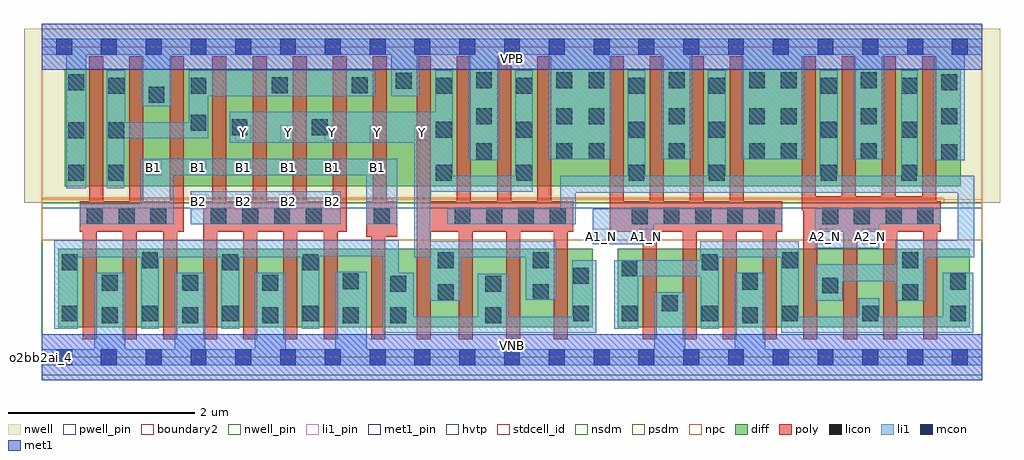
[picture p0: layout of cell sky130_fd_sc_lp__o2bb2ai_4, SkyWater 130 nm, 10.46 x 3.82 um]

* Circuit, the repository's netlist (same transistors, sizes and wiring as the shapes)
* Copyright 2020 The SkyWater PDK Authors
*
* Licensed under the Apache License, Version 2.0 (the "License");
* you may not use this file except in compliance with the License.
* You may obtain a copy of the License at
*
*     https://www.apache.org/licenses/LICENSE-2.0
*
* Unless required by applicable law or agreed to in writing, software
* distributed under the License is distributed on an "AS IS" BASIS,
* WITHOUT WARRANTIES OR CONDITIONS OF ANY KIND, either express or implied.
* See the License for the specific language governing permissions and
* limitations under the License.
*
* SPDX-License-Identifier: Apache-2.0

.SUBCKT sky130_fd_sc_lp__o2bb2ai_4 A1_N A2_N B1 B2 VGND VNB VPB VPWR Y
*.PININFO A1_N:I A2_N:I B1:I B2:I VGND:I VNB:I VPB:I VPWR:I Y:O
MMNnand0 VGND A1_N sndNA1N VNB sky130_fd_pr__nfet_01v8 m=4 w=0.84U l=0.15U mult=1
+ sa=0.265 sb=0.265 sd=0.28 area=0.063 perim=1.14
MMNnand1 sndNA1N A2_N inand VNB sky130_fd_pr__nfet_01v8 m=4 w=0.84U l=0.15U mult=1
+ sa=0.265 sb=0.265 sd=0.28 area=0.063 perim=1.14
MMNaoi10 nmid B1 VGND VNB sky130_fd_pr__nfet_01v8 m=4 w=0.84U l=0.15U mult=1 sa=0.265
+ sb=0.265 sd=0.28 area=0.063 perim=1.14
MMNaoi11 nmid B2 VGND VNB sky130_fd_pr__nfet_01v8 m=4 w=0.84U l=0.15U mult=1 sa=0.265
+ sb=0.265 sd=0.28 area=0.063 perim=1.14
MMNaoi20 Y inand nmid VNB sky130_fd_pr__nfet_01v8 m=4 w=0.84U l=0.15U mult=1 sa=0.265
+ sb=0.265 sd=0.28 area=0.063 perim=1.14
MMPnand0 inand A1_N VPWR VPB sky130_fd_pr__pfet_01v8_hvt m=4 w=1.26U l=0.15U mult=1
+ sa=0.265 sb=0.265 sd=0.28 area=0.063 perim=1.14
MMPnand1 inand A2_N VPWR VPB sky130_fd_pr__pfet_01v8_hvt m=4 w=1.26U l=0.15U mult=1
+ sa=0.265 sb=0.265 sd=0.28 area=0.063 perim=1.14
MMPaoi10 VPWR B1 sndPB1 VPB sky130_fd_pr__pfet_01v8_hvt m=4 w=1.26U l=0.15U mult=1
+ sa=0.265 sb=0.265 sd=0.28 area=0.063 perim=1.14
MMPaoi11 sndPB1 B2 Y VPB sky130_fd_pr__pfet_01v8_hvt m=4 w=1.26U l=0.15U mult=1
+ sa=0.265 sb=0.265 sd=0.28 area=0.063 perim=1.14
MMPaoi20 Y inand VPWR VPB sky130_fd_pr__pfet_01v8_hvt m=4 w=1.26U l=0.15U mult=1
+ sa=0.265 sb=0.265 sd=0.28 area=0.063 perim=1.14
.ENDS sky130_fd_sc_lp__o2bb2ai_4

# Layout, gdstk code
import gdstk
lib = gdstk.Library(unit=1e-6, precision=1e-09)
def R(c, l, rs):  # rectangles x0, y0, x1, y1
    for r in rs: c.add(gdstk.rectangle(r[:2], r[2:], *l))
def A(c, l, x, y, w, h, nx, ny, dx, dy):  # array of equal rectangles
    R(c, l, [(x+i*dx, y+j*dy, x+i*dx+w, y+j*dy+h) for i in range(nx) for j in range(ny)])
def P(c, l, *ps):  # polygons
    for p in ps: c.add(gdstk.Polygon(p, *l))
nwell_pin = (64, 16)
nwell = (64, 20)
diff = (65, 20)
poly = (66, 20)
licon = (66, 44)
li1_pin = (67, 16)
li1 = (67, 20)
mcon = (67, 44)
met1_pin = (68, 16)
met1 = (68, 20)
hvtp = (78, 44)
stdcell_id = (81, 4)
nsdm = (93, 44)
psdm = (94, 20)
npc = (95, 20)
pwell_pin = (122, 16)
boundary2 = (236, 0)

sky130_fd_sc_lp__o2bb2ai = lib.new_cell('sky130_fd_sc_lp__o2bb2ai_4')
R(sky130_fd_sc_lp__o2bb2ai, nwell_pin, [(0,3.085,10.08,3.33)])
R(sky130_fd_sc_lp__o2bb2ai, nwell, [(-0.19,1.655,10.27,3.52)])
R(sky130_fd_sc_lp__o2bb2ai, diff, [(0.175,0.325,5.905,1.165), (6.175,0.325,9.945,1.165), (0.245,1.835,9.85,3.095)])
P(sky130_fd_sc_lp__o2bb2ai, poly, [(1.52,3.225),(1.37,3.225),(1.37,1.675),(1.09,1.675),(1.09,3.225),(0.94,3.225),(0.94,1.675),(0.66,1.675),(0.66,3.225),(0.51,3.225),(0.51,1.675),(0.405,1.675),(0.405,1.345),(0.44,1.345),(0.44,0.195),(0.59,0.195),(0.59,1.345),(0.87,1.345),(0.87,0.195),(1.02,0.195),(1.02,1.345),(1.3,1.345),(1.3,0.195),(1.45,0.195),(1.45,1.345),(1.52,1.345)],
  [(3.27,3.225),(3.12,3.225),(3.12,1.675),(2.84,1.675),(2.84,3.225),(2.69,3.225),(2.69,1.675),(2.41,1.675),(2.41,3.225),(2.26,3.225),(2.26,1.675),(1.98,1.675),(1.98,3.225),(1.83,3.225),(1.83,1.675),(1.73,1.675),(1.73,0.195),(1.88,0.195),(1.88,1.345),(2.16,1.345),(2.16,0.195),(2.31,0.195),(2.31,1.345),(2.59,1.345),(2.59,0.195),(2.74,0.195),(2.74,1.345),(3.02,1.345),(3.02,0.195),(3.17,0.195),(3.17,1.345),(3.27,1.345)],
  [(3.81,1.675),(3.7,1.675),(3.7,3.225),(3.55,3.225),(3.55,1.675),(3.48,1.675),(3.48,1.295),(3.53,1.295),(3.53,0.195),(3.68,0.195),(3.68,1.295),(3.81,1.295)],
  [(5.64,1.345),(5.695,1.345),(5.695,1.675),(5.46,1.675),(5.46,3.225),(5.31,3.225),(5.31,1.675),(5.03,1.675),(5.03,3.225),(4.88,3.225),(4.88,1.675),(4.6,1.675),(4.6,3.225),(4.45,3.225),(4.45,1.675),(4.17,1.675),(4.17,3.225),(4.02,3.225),(4.02,0.195),(4.17,0.195),(4.17,1.345),(4.47,1.345),(4.47,0.195),(4.62,0.195),(4.62,1.345),(4.98,1.345),(4.98,0.195),(5.13,0.195),(5.13,1.345),(5.49,1.345),(5.49,0.195),(5.64,0.195)],
  [(7.935,1.675),(7.525,1.675),(7.525,3.225),(7.375,3.225),(7.375,1.675),(7.095,1.675),(7.095,3.225),(6.945,3.225),(6.945,1.675),(6.665,1.675),(6.665,3.225),(6.515,3.225),(6.515,1.675),(6.235,1.675),(6.235,3.225),(6.085,3.225),(6.085,1.345),(6.44,1.345),(6.44,0.195),(6.59,0.195),(6.59,1.345),(6.87,1.345),(6.87,0.195),(7.02,0.195),(7.02,1.345),(7.3,1.345),(7.3,0.195),(7.45,0.195),(7.45,1.345),(7.73,1.345),(7.73,0.195),(7.88,0.195),(7.88,1.345),(7.935,1.345)],
  [(9.635,1.675),(9.585,1.675),(9.585,3.225),(9.435,3.225),(9.435,1.725),(9.155,1.725),(9.155,3.225),(9.005,3.225),(9.005,1.725),(8.725,1.725),(8.725,3.225),(8.575,3.225),(8.575,1.725),(8.295,1.725),(8.295,3.225),(8.145,3.225),(8.145,1.575),(8.16,1.575),(8.16,0.195),(8.31,0.195),(8.31,1.345),(8.59,1.345),(8.59,0.195),(8.74,0.195),(8.74,1.345),(9.02,1.345),(9.02,0.195),(9.17,0.195),(9.17,1.345),(9.45,1.345),(9.45,0.195),(9.6,0.195),(9.6,1.345),(9.635,1.345)])
A(sky130_fd_sc_lp__o2bb2ai, licon, 0.645, 0.365, 0.17, 0.17, 4, 1, 0.86, 0)
A(sky130_fd_sc_lp__o2bb2ai, licon, 0.215, 0.385, 0.17, 0.17, 4, 1, 0.86, 0)
A(sky130_fd_sc_lp__o2bb2ai, licon, 6.215, 0.385, 0.17, 0.17, 4, 1, 0.86, 0)
A(sky130_fd_sc_lp__o2bb2ai, licon, 0.645, 0.715, 0.17, 0.17, 3, 1, 0.86, 0)
A(sky130_fd_sc_lp__o2bb2ai, licon, 0.485, 1.425, 0.17, 0.17, 3, 1, 0.34, 0)
A(sky130_fd_sc_lp__o2bb2ai, licon, 1.81, 1.425, 0.17, 0.17, 4, 1, 0.34, 0)
A(sky130_fd_sc_lp__o2bb2ai, licon, 4.425, 1.425, 0.17, 0.17, 4, 1, 0.34, 0)
A(sky130_fd_sc_lp__o2bb2ai, licon, 6.325, 1.425, 0.17, 0.17, 5, 1, 0.34, 0)
A(sky130_fd_sc_lp__o2bb2ai, licon, 8.365, 1.425, 0.17, 0.17, 4, 1, 0.34, 0)
A(sky130_fd_sc_lp__o2bb2ai, licon, 5.86, 2.125, 0.17, 0.17, 3, 2, 0.86, 0.375)
A(sky130_fd_sc_lp__o2bb2ai, licon, 7.92, 2.5, 0.17, 0.17, 3, 1, 0.86, 0)
A(sky130_fd_sc_lp__o2bb2ai, licon, 5.86, 2.885, 0.17, 0.17, 3, 1, 0.86, 0)
R(sky130_fd_sc_lp__o2bb2ai, licon, [(3.735,0.365,3.905,0.535), (4.755,0.365,4.925,0.535), (7.505,0.365,7.675,0.535), (5.695,0.385,5.865,0.555), (9.735,0.385,9.905,0.555), (6.645,0.495,6.815,0.665), (4.245,0.615,4.415,0.785), (5.265,0.615,5.435,0.785), (9.225,0.615,9.395,0.785), (8.365,0.685,8.535,0.855), (3.735,0.705,3.905,0.875), (4.755,0.705,4.925,0.875), (7.505,0.725,7.675,0.895), (9.735,0.725,9.905,0.895), (3.225,0.73,3.395,0.9), (5.695,0.79,5.865,0.96), (6.215,0.87,6.385,1.04), (0.215,0.935,0.385,1.105), (1.935,0.935,2.105,1.105), (2.795,0.935,2.965,1.105), (7.075,0.935,7.245,1.105), (1.075,0.955,1.245,1.125), (4.245,0.955,4.415,1.125), (5.265,0.955,5.435,1.125), (7.935,0.955,8.105,1.125), (9.225,0.955,9.395,1.125), (3.56,1.425,3.73,1.595), (0.285,1.895,0.455,2.065), (0.715,1.895,0.885,2.065), (4.225,1.895,4.395,2.065), (5.085,1.895,5.255,2.065), (6.29,1.895,6.46,2.065), (7.15,1.895,7.32,2.065), (8.35,1.895,8.52,2.065), (9.21,1.895,9.38,2.065), (9.64,2.115,9.81,2.285), (4.655,2.125,4.825,2.295), (5.515,2.125,5.685,2.295), (7.92,2.125,8.09,2.295), (8.78,2.125,8.95,2.295), (0.285,2.35,0.455,2.52), (0.715,2.35,0.885,2.52), (4.225,2.355,4.395,2.525), (5.085,2.355,5.255,2.525), (6.29,2.355,6.46,2.525), (7.15,2.355,7.32,2.525), (8.35,2.355,8.52,2.525), (9.21,2.355,9.38,2.525), (2.035,2.38,2.205,2.55), (2.895,2.38,3.065,2.55), (1.595,2.43,1.765,2.6), (4.655,2.5,4.825,2.67), (5.515,2.5,5.685,2.67), (1.145,2.73,1.315,2.9), (0.715,2.825,0.885,2.995), (1.595,2.825,1.765,2.995), (4.225,2.825,4.395,2.995), (5.085,2.825,5.255,2.995), (6.29,2.825,6.46,2.995), (7.15,2.825,7.32,2.995), (8.35,2.825,8.52,2.995), (9.21,2.825,9.38,2.995), (2.465,2.83,2.635,3), (3.325,2.83,3.495,3), (0.285,2.865,0.455,3.035), (9.64,2.865,9.81,3.035), (3.795,2.88,3.965,3.05), (4.655,2.885,4.825,3.055), (5.515,2.885,5.685,3.055), (7.92,2.885,8.09,3.055), (8.78,2.885,8.95,3.055)])
A(sky130_fd_sc_lp__o2bb2ai, li1_pin, 1.595, 1.58, 0.17, 0.17, 4, 1, 0.48, 0)
A(sky130_fd_sc_lp__o2bb2ai, li1_pin, 1.115, 1.95, 0.17, 0.17, 6, 1, 0.48, 0)
A(sky130_fd_sc_lp__o2bb2ai, li1_pin, 2.075, 2.32, 0.17, 0.17, 5, 1, 0.48, 0)
R(sky130_fd_sc_lp__o2bb2ai, li1_pin, [(5.915,1.21,6.085,1.38), (6.395,1.21,6.565,1.38), (8.315,1.21,8.485,1.38), (8.795,1.21,8.965,1.38)])
R(sky130_fd_sc_lp__o2bb2ai, li1, [(1.595,1.425,3.205,1.78)])
P(sky130_fd_sc_lp__o2bb2ai, li1, [(7.935,1.595),(5.905,1.595),(5.905,1.21),(6.565,1.21),(6.565,1.425),(7.935,1.425)],
  [(9.635,1.595),(8.285,1.595),(8.285,1.17),(8.975,1.17),(8.975,1.425),(9.635,1.425)],
  [(9.985,0.905),(9.655,0.905),(9.655,0.435),(8.975,0.435),(8.975,0.635),(8.755,0.635),(8.755,0.435),(8.115,0.435),(8.115,1.245),(7.055,1.245),(7.055,1.04),(6.135,1.04),(6.135,0.305),(6.395,0.305),(6.395,0.87),(7.065,0.87),(7.065,0.305),(7.255,0.305),(7.255,1.075),(7.925,1.075),(7.925,0.265),(9.985,0.265)],
  [(3.575,3.075),(1.575,3.075),(1.575,2.52),(0.895,2.52),(0.895,3.075),(0.695,3.075),(0.695,1.815),(0.885,1.815),(0.885,2.35),(1.785,2.35),(1.785,2.8),(3.575,2.8)],
  [(10.08,0.085),(7.755,0.085),(7.755,0.905),(7.425,0.905),(7.425,0.085),(6.895,0.085),(6.895,0.7),(6.565,0.7),(6.565,0.085),(3.485,0.085),(3.485,0.915),(3.145,0.915),(3.145,0.085),(2.615,0.085),(2.615,0.905),(2.285,0.905),(2.285,0.085),(1.755,0.085),(1.755,0.905),(1.425,0.905),(1.425,0.085),(0.895,0.085),(0.895,0.905),(0.565,0.905),(0.565,0.085),(0,0.085),(0,-0.085),(10.08,-0.085)],
  [(3.81,2.13),(1.055,2.13),(1.055,1.645),(0.405,1.645),(0.405,1.425),(1.415,1.425),(1.415,1.95),(3.48,1.95),(3.48,1.425),(3.81,1.425)],
  [(9.995,1.945),(9.39,1.945),(9.39,3.075),(9.21,3.075),(9.21,1.945),(8.53,1.945),(8.53,3.075),(8.34,3.075),(8.34,1.945),(7.33,1.945),(7.33,3.075),(7.14,3.075),(7.14,1.945),(6.47,1.945),(6.47,3.075),(6.28,3.075),(6.28,1.945),(5.555,1.945),(5.555,1.595),(4.345,1.595),(4.345,1.425),(5.725,1.425),(5.725,1.765),(9.815,1.765),(9.815,1.255),(9.145,1.255),(9.145,1),(8.285,1),(8.285,0.605),(8.585,0.605),(8.585,0.815),(9.145,0.815),(9.145,0.605),(9.475,0.605),(9.475,1.075),(9.995,1.075)],
  [(5.515,1.245),(4.165,1.245),(4.165,1.775),(5.265,1.775),(5.265,3.075),(5.075,3.075),(5.075,1.945),(4.405,1.945),(4.405,3.075),(4.215,3.075),(4.215,2.63),(2.015,2.63),(2.015,2.3),(3.995,2.3),(3.995,1.075),(4.165,1.075),(4.165,0.605),(4.495,0.605),(4.495,1.075),(5.185,1.075),(5.185,0.615),(5.515,0.615)],
  [(10.08,3.415),(0,3.415),(0,3.245),(0.265,3.245),(0.265,1.815),(0.475,1.815),(0.475,3.245),(1.065,3.245),(1.065,2.69),(1.395,2.69),(1.395,3.245),(3.745,3.245),(3.745,2.8),(4.045,2.8),(4.045,3.245),(4.575,3.245),(4.575,2.115),(4.905,2.115),(4.905,3.245),(5.435,3.245),(5.435,2.125),(6.11,2.125),(6.11,3.245),(6.64,3.245),(6.64,2.125),(6.97,2.125),(6.97,3.245),(7.5,3.245),(7.5,2.125),(8.17,2.125),(8.17,3.245),(8.7,3.245),(8.7,2.125),(9.03,2.125),(9.03,3.245),(9.56,3.245),(9.56,2.115),(9.89,2.115),(9.89,3.245),(10.08,3.245)],
  [(5.945,1.04),(5.685,1.04),(5.685,0.435),(5.005,0.435),(5.005,0.895),(4.675,0.895),(4.675,0.435),(3.985,0.435),(3.985,0.905),(3.825,0.905),(3.825,1.255),(0.135,1.255),(0.135,0.305),(0.385,0.305),(0.385,1.075),(1.065,1.075),(1.065,0.305),(1.255,0.305),(1.255,1.075),(1.925,1.075),(1.925,0.305),(2.115,0.305),(2.115,1.075),(2.785,1.075),(2.785,0.305),(2.975,0.305),(2.975,1.085),(3.655,1.085),(3.655,0.265),(5.945,0.265)])
A(sky130_fd_sc_lp__o2bb2ai, mcon, 0.155, -0.085, 0.17, 0.17, 21, 2, 0.48, 3.33)
R(sky130_fd_sc_lp__o2bb2ai, met1_pin, [(0,0,10.08,0.245), (0,3.085,10.08,3.33)])
R(sky130_fd_sc_lp__o2bb2ai, met1, [(0,-0.245,10.08,0.245), (0,3.085,10.08,3.575)])
R(sky130_fd_sc_lp__o2bb2ai, hvtp, [(0,1.6,10.08,3.33)])
R(sky130_fd_sc_lp__o2bb2ai, stdcell_id, [(0,0,10.08,3.33)])
R(sky130_fd_sc_lp__o2bb2ai, nsdm, [(0,-0.19,10.08,1.655)])
P(sky130_fd_sc_lp__o2bb2ai, psdm, [(10.08,3.52),(0,3.52),(0,1.705),(9.665,1.705),(9.665,1.655),(10.08,1.655)])
R(sky130_fd_sc_lp__o2bb2ai, npc, [(0,1.255,10.08,1.695)])
R(sky130_fd_sc_lp__o2bb2ai, pwell_pin, [(0,0,10.08,0.245)])
R(sky130_fd_sc_lp__o2bb2ai, boundary2, [(0,0,10.08,3.33)])
sky130_fd_sc_lp__o2bb2ai.add(gdstk.Label('VNB', (5.04,0.123), layer=64, texttype=59))
sky130_fd_sc_lp__o2bb2ai.add(gdstk.Label('VPB', (5.04,3.208), layer=64, texttype=5))
sky130_fd_sc_lp__o2bb2ai.add(gdstk.Label('o2bb2ai_4', (0,0), layer=83, texttype=44))
sky130_fd_sc_lp__o2bb2ai.add(gdstk.Label('VPWR', (5.04,3.208), layer=68, texttype=5))
sky130_fd_sc_lp__o2bb2ai.add(gdstk.Label('VGND', (5.04,0.123), layer=68, texttype=5))
sky130_fd_sc_lp__o2bb2ai.add(gdstk.Label('A1_N', (6,1.295), layer=67, texttype=5))
sky130_fd_sc_lp__o2bb2ai.add(gdstk.Label('A1_N', (6.48,1.295), layer=67, texttype=5))
sky130_fd_sc_lp__o2bb2ai.add(gdstk.Label('A2_N', (8.4,1.295), layer=67, texttype=5))
sky130_fd_sc_lp__o2bb2ai.add(gdstk.Label('A2_N', (8.88,1.295), layer=67, texttype=5))
sky130_fd_sc_lp__o2bb2ai.add(gdstk.Label('B1', (1.2,2.035), layer=67, texttype=5))
sky130_fd_sc_lp__o2bb2ai.add(gdstk.Label('B1', (1.68,2.035), layer=67, texttype=5))
sky130_fd_sc_lp__o2bb2ai.add(gdstk.Label('B1', (2.16,2.035), layer=67, texttype=5))
sky130_fd_sc_lp__o2bb2ai.add(gdstk.Label('B1', (2.64,2.035), layer=67, texttype=5))
sky130_fd_sc_lp__o2bb2ai.add(gdstk.Label('B1', (3.12,2.035), layer=67, texttype=5))
sky130_fd_sc_lp__o2bb2ai.add(gdstk.Label('B1', (3.6,2.035), layer=67, texttype=5))
sky130_fd_sc_lp__o2bb2ai.add(gdstk.Label('Y', (2.16,2.405), layer=67, texttype=5))
sky130_fd_sc_lp__o2bb2ai.add(gdstk.Label('Y', (2.64,2.405), layer=67, texttype=5))
sky130_fd_sc_lp__o2bb2ai.add(gdstk.Label('Y', (3.12,2.405), layer=67, texttype=5))
sky130_fd_sc_lp__o2bb2ai.add(gdstk.Label('Y', (3.6,2.405), layer=67, texttype=5))
sky130_fd_sc_lp__o2bb2ai.add(gdstk.Label('Y', (4.08,2.405), layer=67, texttype=5))
sky130_fd_sc_lp__o2bb2ai.add(gdstk.Label('B2', (1.68,1.665), layer=67, texttype=5))
sky130_fd_sc_lp__o2bb2ai.add(gdstk.Label('B2', (2.16,1.665), layer=67, texttype=5))
sky130_fd_sc_lp__o2bb2ai.add(gdstk.Label('B2', (2.64,1.665), layer=67, texttype=5))
sky130_fd_sc_lp__o2bb2ai.add(gdstk.Label('B2', (3.12,1.665), layer=67, texttype=5))

lib.write_gds('sky130_fd_sc_lp__o2bb2ai_4.gds')
